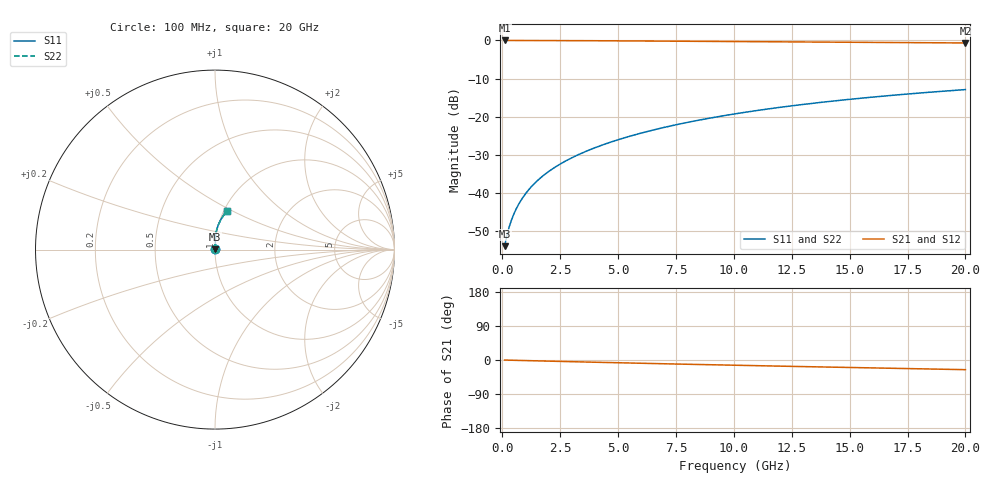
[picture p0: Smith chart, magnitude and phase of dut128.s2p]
! Touchstone file exported from HFSS 2024.1.0
!  File:  C:/UserFiles/LocalFiles/RDL_TSV_Batchsim/temp_RDL_top_128_1778684270.aedt
!  Generated:  11:00:12 PM May 13, 2026
!  Design:  RDL_top
!  Project:  temp_RDL_top_128_1778684270
!  Setup:  Setup1
!  Solution:  Sweep
! Variables:
!  dtsv = 10.80580581um
!  hbump = 3um
!  htsv = 84.28um
!  ldown = 100um
!  lrdl = 368.77um
!  p = 40
!  p1 = 44.85um
!  rhole = 1um
!  t = 450um
!  tdown = 3.915915916um
!  trdl = 3.69um
!  wdown = 15.38538539um
!  wrdl = 23.87um
# GHz S MA R 50.000000
! Terminal data exported
! Port[1] = Box2_T1
! Port[2] = Box2_T2
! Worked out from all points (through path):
!   200 points, 100 MHz to 20 GHz, reference 50 ohm
!   highest |S21| = -0.01 dB at 100 MHz (marker M1); lowest = -0.7 dB at 20 GHz (marker M2)
!   group delay of S21, straight-line fit = 3.5 ps
!   lowest |S11| = -53.9 dB at 100 MHz (marker M3), VSWR 1.00, Z = 50.2 + j0.11 ohm
!   |S11| at or under -10 dB: start of sweep to end of sweep
!   |S22| runs from -53.9 to -12.9 dB; largest |S21 - S12| = 3.1e-15
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0.1  0.002024 32.7  0.9983 -0.2  0.9983 -0.2  0.002024 32.7
! Gamma 0 0 0 0
! Port Impedance 50 0 50 0
0.2  0.002785 49.7  0.9982 -0.3  0.9982 -0.3  0.002785 49.7
0.3  0.003629 58.4  0.998 -0.5  0.998 -0.5  0.003629 58.4
0.4  0.004484 63.9  0.9979 -0.6  0.9979 -0.6  0.004484 63.9
0.5  0.005346 67.8  0.9978 -0.8  0.9978 -0.8  0.005346 67.8
0.6  0.006217 70.8  0.9977 -0.9  0.9977 -0.9  0.006217 70.8
0.8  0.007991 75.0  0.9975 -1.2  0.9975 -1.2  0.007991 75.0
1.1  0.01072 79.0  0.9972 -1.7  0.9972 -1.7  0.01072 79.0
1.3  0.01256 80.8  0.9969 -2.0  0.9969 -2.0  0.01256 80.8
1.6  0.01538 82.7  0.9965 -2.4  0.9965 -2.4  0.01538 82.7
2.1  0.02015 84.9  0.9955 -3.2  0.9955 -3.2  0.02015 84.9
2.7  0.02603 86.4  0.9941 -4.0  0.9941 -4.0  0.02603 86.4
3.5  0.03411 87.7  0.9918 -5.2  0.9918 -5.2  0.03411 87.7
4.2  0.04142 88.3  0.9895 -6.2  0.9895 -6.2  0.04142 88.3
5  0.05005 88.5  0.9866 -7.3  0.9866 -7.3  0.05005 88.5
6.8  0.0704 88.1  0.9794 -9.7  0.9794 -9.7  0.0704 88.1
8.4  0.08931 86.9  0.9727 -11.8  0.9727 -11.8  0.08931 86.9
10.1  0.1099 85.2  0.9656 -13.9  0.9656 -13.9  0.1099 85.2
11.7  0.1294 83.3  0.959 -15.9  0.959 -15.9  0.1294 83.3
13.4  0.1501 81.1  0.9521 -17.9  0.9521 -17.9  0.1501 81.1
16.7  0.1894 76.7  0.9389 -21.8  0.9389 -21.8  0.1894 76.7
20  0.227 72.4  0.9258 -25.5  0.9258 -25.5  0.2271 72.4
